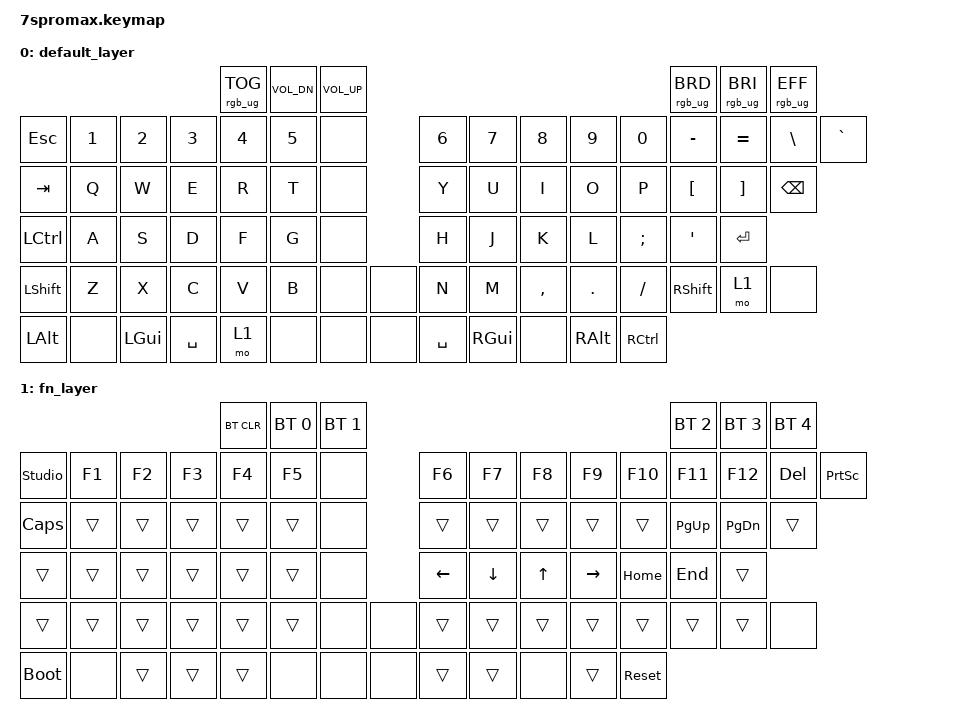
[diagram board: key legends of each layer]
/*
 * 7sProMax production keymap (ZMK v0.3, BLE Micro Pro x2 split).
 *
 * Physical layout (verified on the real board 2026-11-23/24, see
 * MAPPING.md): the two halves dock into one HHKB-style unit.
 * Combined rows, left to right:
 *   row A (15): left (0,0)-(0,5) | right (5,0)-(5,7), (6,7)
 *   row B (14): left (1,0)-(1,5) | right (6,0)-(6,6), (7,7)
 *   row C (13): left (2,0)-(2,5) | right (7,0)-(7,6)
 *   row D (13): left (3,0)-(3,5) | right (8,0)-(8,6)
 *   row E ( 8): left (4,0),(4,2),(4,3),(4,4) | right (9,0),(9,1),(9,3),(9,4)
 * Tact switches: left (0,7),(1,7),(2,7) / right (9,5),(9,6),(9,7).
 * Unpopulated positions are bound to &none.
 *
 * LED: WS2812/SK6812 chain, 16 LEDs per half (official config value).
 * Data pin is module-dependent (BMP: TX0 = P0.11, SuperMini: TX0 =
 * P0.06), so the strip devicetree lives in the per-board overlays.
 * Driven over SPIM3 exactly like the Corne v2 BMP build; standard ZMK
 * underglow is the animation engine here (no custom lighting engine).
 *
 * ZMK Studio: central (left) is built with the studio-rpc-usb-uart
 * snippet + custom-settings flags (see build-vm.sh / build-local.sh).
 * Locking is disabled in 7spromax.conf, so Studio works right after
 * boot; &studio_unlock sits on the Fn layer anyway.
 *
 * SPDX-License-Identifier: MIT
 */

#include <behaviors.dtsi>
#include <dt-bindings/zmk/keys.h>
#include <dt-bindings/zmk/bt.h>
#include <dt-bindings/zmk/rgb.h>
#include <dt-bindings/led/led.h>

/* The LED strip devicetree (pinctrl + spi3 + ws2812 node + the
 * zmk,underglow chosen entry) lives in the per-board overlays
 * ble_micro_pro.overlay / nice_nano.overlay, because the data pin
 * differs per module: BMP = P0.11, SuperMini = P0.06. */

/ {

    keymap {
        compatible = "zmk,keymap";

        default_layer {
            bindings = <
            /* left half: rows 0-4 (cols 0-7) */
            &kp ESC   &kp N1    &kp N2    &kp N3    &kp N4    &kp N5    &none           &rgb_ug RGB_TOG
            &kp TAB   &kp Q     &kp W     &kp E     &kp R     &kp T     &none           &kp C_VOL_DN
            &kp LCTRL &kp A     &kp S     &kp D     &kp F     &kp G     &none           &kp C_VOL_UP
            &kp LSHFT &kp Z     &kp X     &kp C     &kp V     &kp B     &none           &none
            &kp LALT  &none     &kp LGUI  &kp SPACE &mo 1     &none     &none           &none
            /* right half: rows 5-9 (cols 0-7) */
            &kp N6    &kp N7    &kp N8    &kp N9    &kp N0    &kp MINUS &kp EQUAL       &kp BSLH
            &kp Y     &kp U     &kp I     &kp O     &kp P     &kp LBKT  &kp RBKT        &kp GRAVE
            &kp H     &kp J     &kp K     &kp L     &kp SEMI  &kp SQT   &kp ENTER       &kp BSPC
            &kp N     &kp M     &kp COMMA &kp DOT   &kp SLASH &kp RSHFT &mo 1           &none
            &kp SPACE &kp RGUI  &none     &kp RALT  &kp RCTRL &rgb_ug RGB_BRD &rgb_ug RGB_BRI &rgb_ug RGB_EFF
            >;
        };

        fn_layer {
            bindings = <
            /* left half */
            &studio_unlock &kp F1   &kp F2    &kp F3    &kp F4    &kp F5    &none           &bt BT_CLR
            &kp CAPS  &trans  &trans  &trans  &trans  &trans  &none           &bt BT_SEL 0
            &trans    &trans  &trans  &trans  &trans  &trans  &none           &bt BT_SEL 1
            &trans    &trans  &trans  &trans  &trans  &trans  &none           &none
            &bootloader &none   &trans  &trans  &trans  &none     &none           &none
            /* right half */
            &kp F6    &kp F7    &kp F8    &kp F9    &kp F10   &kp F11   &kp F12         &kp DEL
            &trans    &trans  &trans  &trans  &trans  &kp PG_UP &kp PG_DN       &kp PSCRN
            &kp LEFT  &kp DOWN  &kp UP    &kp RIGHT &kp HOME  &kp END   &trans          &trans
            &trans    &trans  &trans  &trans  &trans  &trans  &trans          &none
            &trans    &trans  &none     &trans  &sys_reset &bt BT_SEL 2 &bt BT_SEL 3    &bt BT_SEL 4
            >;
        };
    };
};
